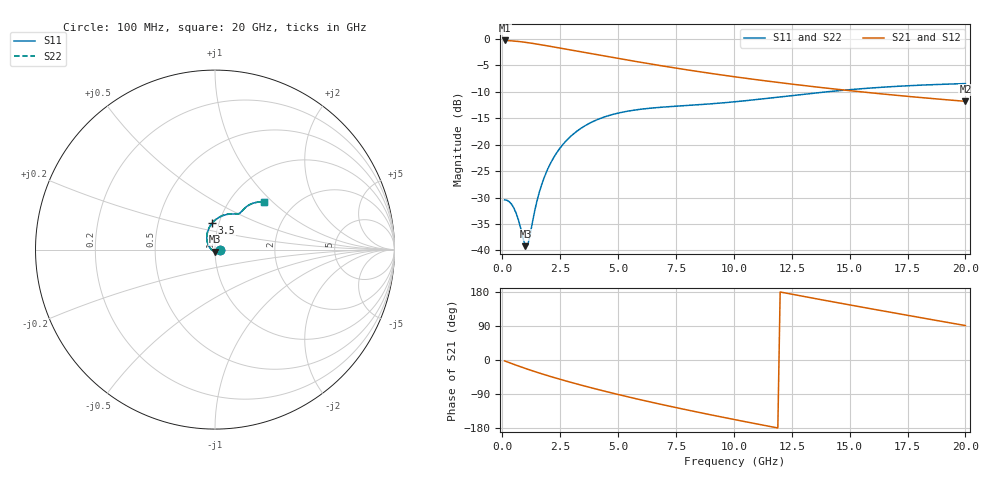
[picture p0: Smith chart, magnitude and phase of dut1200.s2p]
! Touchstone file exported from HFSS 2024.1.0
!  File:  C:/UserFiles/LocalFiles/RDL_TSV_Batchsim/temp_RDL_TSV_1200_1780257131.aedt
!  Generated:  04:07:32 AM Jun  1, 2026
!  Design:  RDL_TSV
!  Project:  temp_RDL_TSV_1200_1780257131
!  Setup:  Setup1
!  Solution:  Sweep
! Variables:
!  dtsv = 14.37um
!  hbump = 3um
!  htsv = 85.25um
!  ldown = 561.38um
!  lrdl = 468.48um
!  p = 40
!  p1 = 42.7um
!  rhole = 10um
!  subl = 3558.06um
!  t = 450um
!  tdown = 3.96um
!  trdl = 2.33um
!  viad = 10um
!  wdown = 28.11um
!  wrdl = 11.17um
!  xbump = 18um
# GHz S MA R 50.000000
! Terminal data exported
! Port[1] = TM1_1_T1
! Port[2] = TM1_4_T1
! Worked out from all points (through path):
!   200 points, 100 MHz to 20 GHz, reference 50 ohm
!   highest |S21| = -0.27 dB at 100 MHz (marker M1); lowest = -11.8 dB at 20 GHz (marker M2)
!   group delay of S21, straight-line fit = 35.6 ps
!   lowest |S11| = -39.2 dB at 1 GHz (marker M3), VSWR 1.02, Z = 49.8 - j1.07 ohm
!   |S11| at or under -10 dB: start of sweep to 13.99 GHz
!   |S22| runs from -39.2 to -8.4 dB; largest |S21 - S12| = 1e-14
!   S11 on the Smith chart (normalised r, x): 100 MHz: 1.06, -0.00; 3.5 GHz: 0.93, +0.28; 20 GHz: 1.43, +0.88
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0.1  0.03005 -3.9  0.9692 -2.4  0.9692 -2.4  0.03005 -3.9
! Gamma 0 0 0 0
! Port Impedance 50 0 50 0
0.3  0.02891 -14.0  0.9644 -7.0  0.9644 -7.0  0.0289 -14.0
0.5  0.02517 -27.1  0.9572 -11.5  0.9572 -11.5  0.02513 -27.1
0.7  0.01931 -44.6  0.9478 -15.9  0.9478 -15.9  0.01924 -44.7
1  0.01096 -101.6  0.9303 -22.4  0.9303 -22.4  0.01091 -102.3
1.1  0.01123 -133.5  0.9237 -24.4  0.9237 -24.4  0.01125 -134.4
1.4  0.02368 169.7  0.9027 -30.5  0.9027 -30.5  0.02392 169.4
1.6  0.03559 153.9  0.888 -34.5  0.888 -34.5  0.03592 153.7
1.8  0.04832 143.1  0.873 -38.3  0.873 -38.3  0.04874 143.0
2  0.06134 134.7  0.8579 -42.0  0.8579 -42.0  0.06185 134.6
2.6  0.09944 115.8  0.8134 -52.8  0.8134 -52.8  0.1002 115.8
3.5  0.1478 96.1  0.7501 -67.9  0.7501 -67.9  0.149 96.1
4.3  0.1795 83.3  0.6981 -80.5  0.6981 -80.5  0.181 83.3
5.2  0.2034 72.8  0.6443 -93.9  0.6443 -93.9  0.2052 72.7
6.8  0.2256 61.4  0.5617 -116.3  0.5617 -116.3  0.2276 61.3
8.4  0.2383 56.6  0.4946 -137.1  0.4946 -137.1  0.2404 56.5
10.1  0.2555 55.3  0.4373 -158.1  0.4373 -158.1  0.2574 55.1
11.6  0.277 54.7  0.3959 -175.9  0.3959 -175.9  0.2787 54.5
13.4  0.3066 53.1  0.355 163.4  0.355 163.4  0.3082 52.9
15  0.3316 50.9  0.3248 145.4  0.3248 145.4  0.3332 50.8
16.7  0.3531 48.3  0.2979 126.6  0.2979 126.6  0.3548 48.2
20  0.3787 44.1  0.2573 90.9  0.2573 90.9  0.3807 44.1
